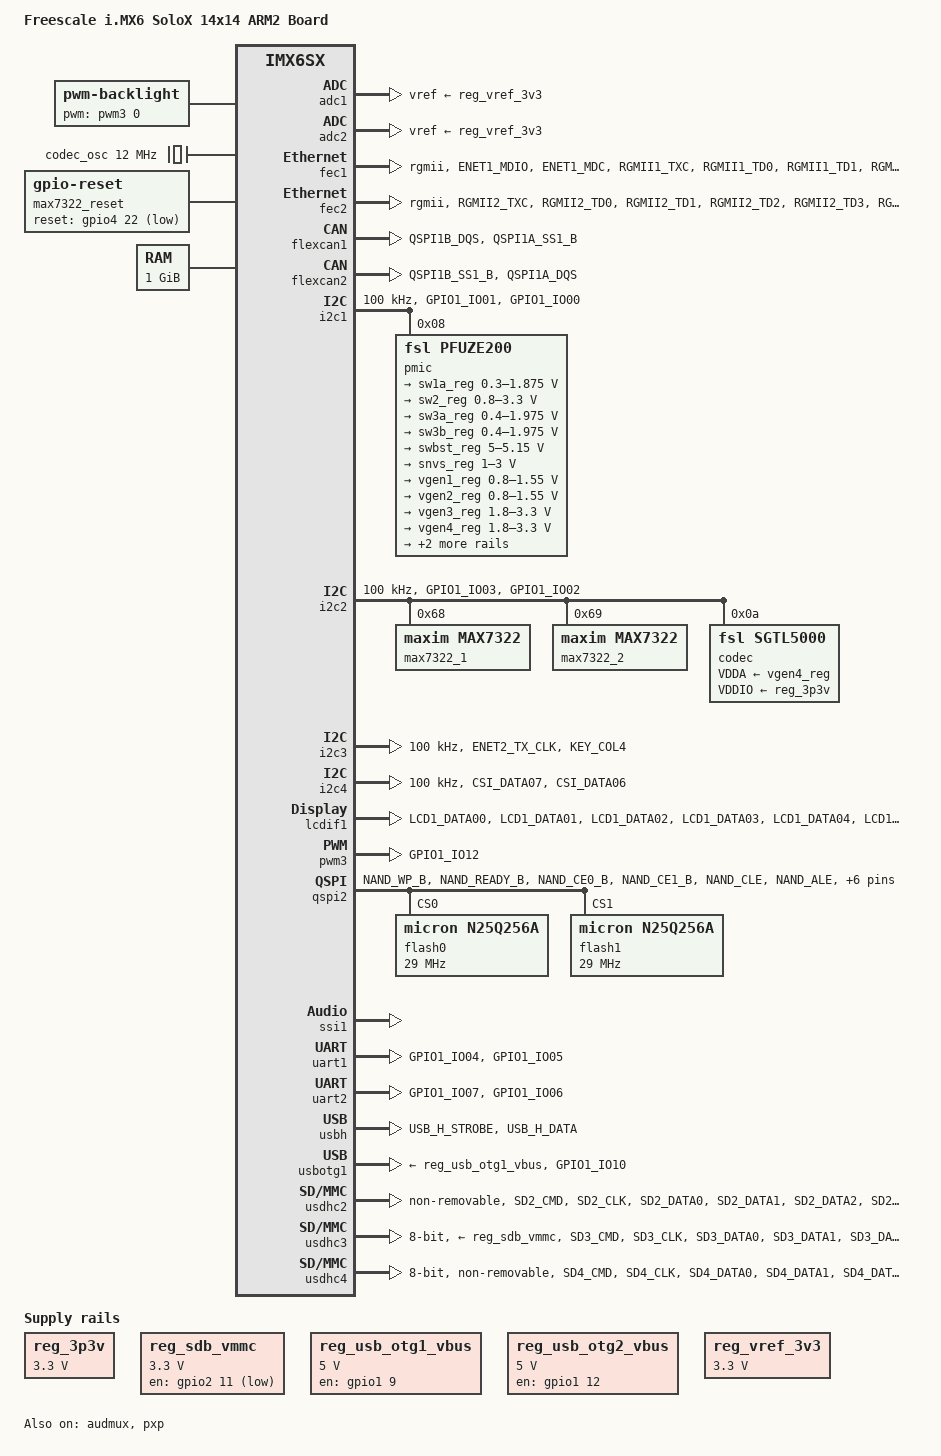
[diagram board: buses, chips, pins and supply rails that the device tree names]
/*
 * Copyright (C) 2015 Freescale Semiconductor, Inc.
 *
 * This program is free software; you can redistribute it and/or modify
 * it under the terms of the GNU General Public License version 2 as
 * published by the Free Software Foundation.
 */

/dts-v1/;

#include "imx6sx.dtsi"

/ {
	model = "Freescale i.MX6 SoloX 14x14 ARM2 Board";
	compatible = "fsl,imx6sx-14x14-lpddr2-arm2", "fsl,imx6sx";

	backlight {
		compatible = "pwm-backlight";
		pwms = <&pwm3 0 5000000>;
		brightness-levels = <0 4 8 16 32 64 128 255>;
		default-brightness-level = <6>;
	};

	clocks {
	        codec_osc: codec_osc {
		        #clock-cells = <0>;
		        compatible = "fixed-clock";
		        clock-frequency = <12000000>;
		};
	};

	max7322_reset: max7322-reset {
		compatible = "gpio-reset";
		reset-gpios = <&gpio4 22 GPIO_ACTIVE_LOW>;
		reset-delay-us = <1>;
		#reset-cells = <0>;
	};

	pxp_v4l2_out {
		compatible = "fsl,imx6sx-pxp-v4l2", "fsl,imx6sl-pxp-v4l2";
		status = "okay";
	};

	regulators {
		compatible = "simple-bus";

		reg_3p3v: 3p3v {
			compatible = "regulator-fixed";
			regulator-name = "3P3V";
			regulator-min-microvolt = <3300000>;
			regulator-max-microvolt = <3300000>;
			regulator-always-on;
		};

		reg_sdb_vmmc: sdb_vmmc{
			compatible = "regulator-fixed";
			regulator-name = "SD2_SPWR";
			regulator-min-microvolt = <3300000>;
			regulator-max-microvolt = <3300000>;
			gpio = <&gpio2 11 GPIO_ACTIVE_LOW>;
		};

		reg_usb_otg1_vbus: usb_otg1_vbus {
			compatible = "regulator-fixed";
			regulator-name = "usb_otg1_vbus";
			regulator-min-microvolt = <5000000>;
			regulator-max-microvolt = <5000000>;
			gpio = <&gpio1 9 0>;
			enable-active-high;
		};

		reg_usb_otg2_vbus: usb_otg2_vbus {
			compatible = "regulator-fixed";
			regulator-name = "usb_otg2_vbus";
			regulator-min-microvolt = <5000000>;
			regulator-max-microvolt = <5000000>;
			gpio = <&gpio1 12 0>;
			enable-active-high;
		};

		reg_vref_3v3: regulator@0 {
			compatible = "regulator-fixed";
			regulator-name = "vref-3v3";
			regulator-min-microvolt = <3300000>;
			regulator-max-microvolt = <3300000>;
		};
	};

	memory {
		reg = <0x80000000 0x40000000>;
	};

	sound {
		compatible = "fsl,imx6sx-arm2-sgtl5000",
			   "fsl,imx-audio-sgtl5000";
		model = "imx6sx-arm2-sgtl5000";
		cpu-dai = <&ssi1>;
		audio-codec = <&codec>;
		audio-routing =
			"LINE_IN", "Line In Jack",
			"Headphone Jack", "HP_OUT";
		mux-int-port = <1>;
		mux-ext-port = <4>;
	};
};

&adc1 {
	vref-supply = <&reg_vref_3v3>;
	status = "okay";
};

&adc2 {
	vref-supply = <&reg_vref_3v3>;
	status = "okay";
};

&audmux {
       pinctrl-names = "default";
       pinctrl-0 = <&pinctrl_audmux_2>;
       status = "okay";
};

&cpu0 {
	operating-points = <
		/* kHz    uV */
		996000  1250000
		792000  1175000
		396000  1175000
	>;
	fsl,soc-operating-points = <
		/* ARM kHz      SOC uV */
		996000  1250000
		792000  1175000
		396000  1175000
	>;
	arm-supply = <&sw1a_reg>;
	soc-supply = <&sw1a_reg>;
	fsl,arm-soc-shared = <1>;
};

&ecspi4 {
	fsl,spi-num-chipselects = <1>;
	cs-gpios = <&gpio7 4 0>;
	pinctrl-names = "default";
	pinctrl-0 = <&pinctrl_ecspi4_1 &pinctrl_ecspi4_cs_1>;
	status = "disabled"; /* pin conflict with USDHC3 */

	flash: m25p80@0 {
		#address-cells = <1>;
		#size-cells = <1>;
		compatible = "st,m25p32";
		spi-max-frequency = <20000000>;
		reg = <0>;
	};
};

&fec1 {
	pinctrl-names = "default";
	pinctrl-0 = <&pinctrl_enet1_1>;
	phy-mode = "rgmii";
	phy-id = <1>;
	fsl,num_tx_queues=<3>;
	fsl,num_rx_queues=<3>;
	pinctrl-assert-gpios = <&max7322_1 0 GPIO_ACTIVE_HIGH>;
	fsl,magic-packet;
	status = "okay";
};

&fec2 {
	pinctrl-names = "default";
	pinctrl-0 = <&pinctrl_enet2_1>;
	phy-mode = "rgmii";
	phy-id = <0>;
	fsl,num_tx_queues=<3>;
	fsl,num_rx_queues=<3>;
	pinctrl-assert-gpios = <&max7322_2 0 GPIO_ACTIVE_HIGH>;
	fsl,magic-packet;
	status = "okay";
};

&flexcan1 {
	pinctrl-names = "default";
	pinctrl-0 = <&pinctrl_flexcan1_1>;
	trx-en-gpio = <&gpio4 25 GPIO_ACTIVE_HIGH>;
	trx-stby-gpio = <&gpio4 27 GPIO_ACTIVE_HIGH>;
	trx-err-gpio = <&gpio4 24 GPIO_ACTIVE_HIGH>;
	status = "okay";
};

&flexcan2 {
	pinctrl-names = "default";
	pinctrl-0 = <&pinctrl_flexcan2_1>;
	trx-en-gpio = <&gpio4 25 GPIO_ACTIVE_HIGH>;
	trx-stby-gpio = <&gpio4 27 GPIO_ACTIVE_HIGH>;
	trx-err-gpio = <&gpio4 30 GPIO_ACTIVE_HIGH>;
	status = "okay";
};

&gpc {
	fsl,cpu_pupscr_sw2iso = <0x2>;
	fsl,cpu_pupscr_sw = <0x1>;
	fsl,cpu_pdnscr_iso2sw = <0x1>;
	fsl,cpu_pdnscr_iso = <0x1>;
	fsl,ldo-bypass = <1>; /* use ldo-bypass, u-boot will check it and configure */
};

&gpmi {
	pinctrl-names = "default";
	pinctrl-0 = <&pinctrl_gpmi_nand_1>;
	status = "disabled"; /* pin conflict with qspi*/
	nand-on-flash-bbt;
};

&i2c1 {
        clock-frequency = <100000>;
        pinctrl-names = "default";
        pinctrl-0 = <&pinctrl_i2c1_1>;
        status = "okay";

	pmic: pfuze100@08 {
		compatible = "fsl,pfuze200";
		reg = <0x08>;

		regulators {
			sw1a_reg: sw1ab {
				regulator-min-microvolt = <300000>;
				regulator-max-microvolt = <1875000>;
				regulator-boot-on;
				regulator-always-on;
				regulator-ramp-delay = <6250>;
			};

			sw2_reg: sw2 {
				regulator-min-microvolt = <800000>;
				regulator-max-microvolt = <3300000>;
				regulator-boot-on;
				regulator-always-on;
			};

			sw3a_reg: sw3a {
				regulator-min-microvolt = <400000>;
				regulator-max-microvolt = <1975000>;
				regulator-boot-on;
				regulator-always-on;
			};

			sw3b_reg: sw3b {
				regulator-min-microvolt = <400000>;
				regulator-max-microvolt = <1975000>;
				regulator-boot-on;
				regulator-always-on;
			};

			swbst_reg: swbst {
				regulator-min-microvolt = <5000000>;
				regulator-max-microvolt = <5150000>;
			};

			snvs_reg: vsnvs {
				regulator-min-microvolt = <1000000>;
				regulator-max-microvolt = <3000000>;
				regulator-boot-on;
				regulator-always-on;
			};

			vref_reg: vrefddr {
				regulator-boot-on;
				regulator-always-on;
			};

			vgen1_reg: vgen1 {
				regulator-min-microvolt = <800000>;
				regulator-max-microvolt = <1550000>;
			};

			vgen2_reg: vgen2 {
				regulator-min-microvolt = <800000>;
				regulator-max-microvolt = <1550000>;
			};

			vgen3_reg: vgen3 {
				regulator-min-microvolt = <1800000>;
				regulator-max-microvolt = <3300000>;
				regulator-always-on;
			};

			vgen4_reg: vgen4 {
				regulator-min-microvolt = <1800000>;
				regulator-max-microvolt = <3300000>;
				regulator-always-on;
			};

			vgen5_reg: vgen5 {
				regulator-min-microvolt = <1800000>;
				regulator-max-microvolt = <3300000>;
				regulator-always-on;
			};

			vgen6_reg: vgen6 {
				regulator-min-microvolt = <1800000>;
				regulator-max-microvolt = <3300000>;
				regulator-always-on;
			};
		};
	};
};

&i2c2 {
        clock-frequency = <100000>;
        pinctrl-names = "default";
        pinctrl-0 = <&pinctrl_i2c2_1>;
        status = "okay";

	max7322_1: gpio@68 {
		compatible = "maxim,max7322";
		reg = <0x68>;
		gpio-controller;
		#gpio-cells = <2>;
		resets = <&max7322_reset>;
	};

	max7322_2: gpio@69 {
		compatible = "maxim,max7322";
		reg = <0x69>;
		gpio-controller;
		#gpio-cells = <2>;
		resets = <&max7322_reset>;
	};

	codec: sgtl5000@0a {
		compatible = "fsl,sgtl5000";
		reg = <0x0a>;
		clocks = <&codec_osc>;
		VDDA-supply = <&vgen4_reg>;
		VDDIO-supply = <&reg_3p3v>;
	};
};


&i2c3 {
        clock-frequency = <100000>;
        pinctrl-names = "default";
        pinctrl-0 = <&pinctrl_i2c3_1>;
        status = "okay";
};

&i2c4 {
        clock-frequency = <100000>;
        pinctrl-names = "default";
        pinctrl-0 = <&pinctrl_i2c4_1>;
        status = "okay";
};

&iomuxc {
	pinctrl-names = "default";
	pinctrl-0 = <&pinctrl_hog_1>;

	hog {
		pinctrl_hog_1: hoggrp-1 {
			fsl,pins = <
				MX6SX_PAD_KEY_COL0__GPIO2_IO_10		0x1f059
				MX6SX_PAD_KEY_ROW0__GPIO2_IO_15		0x1f059
				MX6SX_PAD_QSPI1A_SS0_B__GPIO4_IO_22     0x80000000
				/* CAN1_2_EN */
				MX6SX_PAD_QSPI1B_DATA1__GPIO4_IO_25     0x17059
				/* CAN1_2_STBY_B */
				MX6SX_PAD_QSPI1B_DATA3__GPIO4_IO_27     0x17059
				/* CAN1_ERR_B */
				MX6SX_PAD_QSPI1B_DATA0__GPIO4_IO_24	0x17059
				/* CAN2_ERR_B */
				MX6SX_PAD_QSPI1B_SS0_B__GPIO4_IO_30     0x17059
				/* SD2_PWROFF */
				MX6SX_PAD_KEY_COL1__GPIO2_IO_11		0x17059
			>;
		};
	};
};

&lcdif1 {
	pinctrl-names = "default";
	pinctrl-0 = <&pinctrl_lcdif_dat_0
		     &pinctrl_lcdif_ctrl_0>;
	display = <&display>;
	status = "okay";

	display: display {
		bits-per-pixel = <16>;
		bus-width = <24>;

		display-timings {
			native-mode = <&timing0>;
			timing0: timing0 {
				clock-frequency = <33500000>;
				hactive = <800>;
				vactive = <480>;
				hback-porch = <89>;
				hfront-porch = <164>;
				vback-porch = <23>;
				vfront-porch = <10>;
				hsync-len = <10>;
				vsync-len = <10>;
				hsync-active = <0>;
				vsync-active = <0>;
				de-active = <1>;
				pixelclk-active = <0>;
			};
		};
	};
};

&mlb {
	pinctrl-names = "default";
	pinctrl-0 = <&pinctrl_mlb_1>;
	status = "disabled";/* pin conflict with usdhc2*/
};

&pwm3 {
	pinctrl-names = "default";
	pinctrl-0 = <&pinctrl_pwm3_0>;
	status = "okay";
};

&pxp {
	status = "okay";
};

&qspi2 {
	pinctrl-names = "default";
	pinctrl-0 = <&pinctrl_qspi2_1>;
	status = "okay";
	ddrsmp=<2>;

	flash0: n25q256a@0 {
		#address-cells = <1>;
		#size-cells = <1>;
		compatible = "micron,n25q256a";
		spi-max-frequency = <29000000>;
		reg = <0>;
	};

	flash1: n25q256a@1 {
		#address-cells = <1>;
		#size-cells = <1>;
		compatible = "micron,n25q256a";
		spi-max-frequency = <29000000>;
		reg = <1>;
	};
};

&sai2 {
	pinctrl-names = "default";
	pinctrl-0 = <&pinctrl_sai2_1>;
	status = "disabled";
};

&spdif {
	pinctrl-names = "default";
	pinctrl-0 = <&pinctrl_spdif_1>;
	status = "disabled";
};

&ssi1 {
	fsl,mode = "i2s-slave";
	status = "okay";
};

&uart1 {
	pinctrl-names = "default";
	pinctrl-0 = <&pinctrl_uart1_1>;
	status = "okay";
};

&uart2 {
	pinctrl-names = "default";
	pinctrl-0 = <&pinctrl_uart2_1>;
	status = "okay";
};

&usbh {
	pinctrl-names = "idle", "active";
	pinctrl-0 = <&pinctrl_usbh_1>;
	pinctrl-1 = <&pinctrl_usbh_2>;
	osc-clkgate-delay = <0x3>;
	pad-supply = <&vgen1_reg>;
	status = "okay";
};

&usbotg1 {
	vbus-supply = <&reg_usb_otg1_vbus>;
	pinctrl-names = "default";
	pinctrl-0 = <&pinctrl_usbotg1_1>;
	disable-over-current;
	status = "okay";
};

&usbotg2 {
	/*
	 * Pin conflict with others, need to switch R580 & R579
	 * to B and disable pwm3 to enable it.
	 */
	vbus-supply = <&reg_usb_otg2_vbus>;
	disable-over-current;
	pinctrl-names = "default";
	pinctrl-0 = <&pinctrl_usbotg2_1>;
	status = "disabled";
};

&usdhc2 {
	pinctrl-names = "default";
	pinctrl-0 = <&pinctrl_usdhc2_1>;
	non-removable;
	/* need hw rework to enable signal voltage switch */
	no-1-8-v;
	keep-power-in-suspend;
	enable-sdio-wakeup;
	status = "okay";
};

&usdhc3 {
	pinctrl-names = "default", "state_100mhz", "state_200mhz";
	pinctrl-0 = <&pinctrl_usdhc3_1>;
	pinctrl-1 = <&pinctrl_usdhc3_1_100mhz>;
	pinctrl-2 = <&pinctrl_usdhc3_1_200mhz>;
	bus-width = <8>;
	cd-gpios = <&gpio2 10 0>;
	wp-gpios = <&gpio2 15 0>;
	keep-power-in-suspend;
	enable-sdio-wakeup;
	vmmc-supply = <&reg_sdb_vmmc>;
	status = "okay";
};

&usdhc4 {
	pinctrl-names = "default";
	pinctrl-0 = <&pinctrl_usdhc4_1>;
	bus-width = <8>;
	non-removable;
	/* need hw rework to enable signal voltage switch */
	no-1-8-v;
	status = "okay";
};

&wdog1 {
	pinctrl-names = "default";
	pinctrl-0 = <&pinctrl_wdog>;
	fsl,wdog_b;
};

&iomuxc {
	audmux {
		pinctrl_audmux_1: audmuxgrp-1 {
			fsl,pins = <
				MX6SX_PAD_CSI_DATA00__AUDMUX_AUD6_TXC   0x130B0
				MX6SX_PAD_CSI_DATA01__AUDMUX_AUD6_TXFS  0x130B0
				MX6SX_PAD_CSI_HSYNC__AUDMUX_AUD6_TXD    0x120B0
				MX6SX_PAD_CSI_VSYNC__AUDMUX_AUD6_RXD    0x130B0
				MX6SX_PAD_CSI_PIXCLK__AUDMUX_MCLK       0x130B0
			>;
		};

		pinctrl_audmux_2: audmuxgrp-2 {
			fsl,pins = <
				MX6SX_PAD_ENET1_COL__AUDMUX_AUD4_TXC 	 0x130b0
				MX6SX_PAD_ENET1_CRS__AUDMUX_AUD4_TXD     0x130b0
				MX6SX_PAD_ENET1_RX_CLK__AUDMUX_AUD4_TXFS 0x130b0
				MX6SX_PAD_ENET1_TX_CLK__AUDMUX_AUD4_RXD  0x130b0
			>;
		};

		pinctrl_audmux_3: audmux-3 {
			fsl,pins = <
				MX6SX_PAD_SD1_CMD__AUDMUX_AUD5_RXC    0x130b0
				MX6SX_PAD_SD1_CLK__AUDMUX_AUD5_RXFS   0x130b0
				MX6SX_PAD_SD1_DATA3__AUDMUX_AUD5_RXD  0x130b0
			>;
		};
	};

	ecspi4 {
		pinctrl_ecspi4_cs_1: ecspi4_cs_grp-1 {
			fsl,pins = <
				MX6SX_PAD_SD3_DATA2__GPIO7_IO_4  0x80000000
			>;
		};

		pinctrl_ecspi4_1: ecspi4grp-1 {
			fsl,pins = <
				MX6SX_PAD_SD3_DATA3__ECSPI4_MISO 0x100b1
				MX6SX_PAD_SD3_CMD__ECSPI4_MOSI   0x100b1
				MX6SX_PAD_SD3_CLK__ECSPI4_SCLK   0x100b1
			>;
		};
	};

	csi {
		pinctrl_csi_0: csigrp-0 {
			fsl,pins = <
				MX6SX_PAD_LCD1_DATA07__CSI1_MCLK	0x110b0
				MX6SX_PAD_LCD1_DATA06__CSI1_PIXCLK	0x110b0
				MX6SX_PAD_LCD1_DATA04__CSI1_VSYNC	0x110b0
				MX6SX_PAD_LCD1_DATA05__CSI1_HSYNC	0x110b0
				MX6SX_PAD_LCD1_DATA17__CSI1_DATA_0	0x110b0
				MX6SX_PAD_LCD1_DATA16__CSI1_DATA_1	0x110b0
				MX6SX_PAD_LCD1_DATA15__CSI1_DATA_2	0x110b0
				MX6SX_PAD_LCD1_DATA14__CSI1_DATA_3	0x110b0
				MX6SX_PAD_LCD1_DATA13__CSI1_DATA_4	0x110b0
				MX6SX_PAD_LCD1_DATA12__CSI1_DATA_5	0x110b0
				MX6SX_PAD_LCD1_DATA11__CSI1_DATA_6	0x110b0
				MX6SX_PAD_LCD1_DATA10__CSI1_DATA_7	0x110b0
				MX6SX_PAD_LCD1_DATA09__CSI1_DATA_8	0x110b0
				MX6SX_PAD_LCD1_DATA08__CSI1_DATA_9	0x110b0
				MX6SX_PAD_LCD1_RESET__GPIO3_IO_27	0x80000000
				MX6SX_PAD_LCD1_VSYNC__GPIO3_IO_28	0x80000000
			>;
		};

		pinctrl_csi_1: csigrp-1 {
			fsl,pins = <
				MX6SX_PAD_CSI_MCLK__CSI1_MCLK		0x110b0
				MX6SX_PAD_CSI_PIXCLK__CSI1_PIXCLK	0x110b0
				MX6SX_PAD_CSI_VSYNC__CSI1_VSYNC		0x110b0
				MX6SX_PAD_CSI_HSYNC__CSI1_HSYNC		0x110b0
				MX6SX_PAD_CSI_DATA00__CSI1_DATA_2	0x110b0
				MX6SX_PAD_CSI_DATA01__CSI1_DATA_3	0x110b0
				MX6SX_PAD_CSI_DATA02__CSI1_DATA_4	0x110b0
				MX6SX_PAD_CSI_DATA03__CSI1_DATA_5	0x110b0
				MX6SX_PAD_CSI_DATA04__CSI1_DATA_6	0x110b0
				MX6SX_PAD_CSI_DATA05__CSI1_DATA_7	0x110b0
				MX6SX_PAD_CSI_DATA06__CSI1_DATA_8	0x110b0
				MX6SX_PAD_CSI_DATA07__CSI1_DATA_9	0x110b0

				MX6SX_PAD_LCD1_ENABLE__GPIO3_IO_25	0x80000000
				MX6SX_PAD_LCD1_HSYNC__GPIO3_IO_26	0x80000000
			>;
		};
	};

	enet1 {
		pinctrl_enet1_1: enet1grp-1 {
			fsl,pins = <
				MX6SX_PAD_ENET1_MDIO__ENET1_MDIO        0xa0b1
				MX6SX_PAD_ENET1_MDC__ENET1_MDC          0xa0b1
				MX6SX_PAD_RGMII1_TXC__ENET1_RGMII_TXC   0xa0b9
				MX6SX_PAD_RGMII1_TD0__ENET1_TX_DATA_0   0xa0b1
				MX6SX_PAD_RGMII1_TD1__ENET1_TX_DATA_1   0xa0b1
				MX6SX_PAD_RGMII1_TD2__ENET1_TX_DATA_2   0xa0b1
				MX6SX_PAD_RGMII1_TD3__ENET1_TX_DATA_3   0xa0b1
				MX6SX_PAD_RGMII1_TX_CTL__ENET1_TX_EN    0xa0b1
				MX6SX_PAD_RGMII1_RXC__ENET1_RX_CLK      0x3081
				MX6SX_PAD_RGMII1_RD0__ENET1_RX_DATA_0   0x3081
				MX6SX_PAD_RGMII1_RD1__ENET1_RX_DATA_1   0x3081
				MX6SX_PAD_RGMII1_RD2__ENET1_RX_DATA_2   0x3081
				MX6SX_PAD_RGMII1_RD3__ENET1_RX_DATA_3   0x3081
				MX6SX_PAD_RGMII1_RX_CTL__ENET1_RX_EN    0x3081
			>;
		};

		pinctrl_enet1_clkout_1: enet1_clkoutgrp-1 {
			fsl,pins = <
				MX6SX_PAD_ENET2_RX_CLK__ENET2_REF_CLK_25M	0x91
			>;
		};
	};

	enet2 {
		pinctrl_enet2_1: enet2grp-1 {
			fsl,pins = <
				MX6SX_PAD_RGMII2_TXC__ENET2_RGMII_TXC   0xa0b9
				MX6SX_PAD_RGMII2_TD0__ENET2_TX_DATA_0   0xa0b1
				MX6SX_PAD_RGMII2_TD1__ENET2_TX_DATA_1   0xa0b1
				MX6SX_PAD_RGMII2_TD2__ENET2_TX_DATA_2   0xa0b1
				MX6SX_PAD_RGMII2_TD3__ENET2_TX_DATA_3   0xa0b1
				MX6SX_PAD_RGMII2_TX_CTL__ENET2_TX_EN    0xa0b1
				MX6SX_PAD_RGMII2_RXC__ENET2_RX_CLK      0x3081
				MX6SX_PAD_RGMII2_RD0__ENET2_RX_DATA_0   0x3081
				MX6SX_PAD_RGMII2_RD1__ENET2_RX_DATA_1   0x3081
				MX6SX_PAD_RGMII2_RD2__ENET2_RX_DATA_2   0x3081
				MX6SX_PAD_RGMII2_RD3__ENET2_RX_DATA_3   0x3081
				MX6SX_PAD_RGMII2_RX_CTL__ENET2_RX_EN    0x3081
			>;
		};
	};

	esai {
		pinctrl_esai_1: esaigrp-1 {
			fsl,pins = <
				MX6SX_PAD_CSI_MCLK__ESAI_TX_HF_CLK  0x1b030
				MX6SX_PAD_CSI_DATA00__ESAI_TX_CLK   0x1b030
				MX6SX_PAD_CSI_DATA01__ESAI_TX_FS    0x1b030
				MX6SX_PAD_CSI_HSYNC__ESAI_TX0       0x1b030
				MX6SX_PAD_CSI_DATA04__ESAI_TX1      0x1b030
				MX6SX_PAD_CSI_DATA06__ESAI_TX2_RX3  0x1b030
				MX6SX_PAD_CSI_DATA07__ESAI_TX3_RX2  0x1b030
				MX6SX_PAD_CSI_DATA02__ESAI_RX_CLK   0x1b030
				MX6SX_PAD_CSI_DATA03__ESAI_RX_FS    0x1b030
				MX6SX_PAD_CSI_VSYNC__ESAI_TX5_RX0   0x1b030
				MX6SX_PAD_CSI_DATA05__ESAI_TX4_RX1  0x1b030
			>;
		};

		pinctrl_esai_2: esaigrp-2 {
			fsl,pins = <
				MX6SX_PAD_CSI_DATA00__ESAI_TX_CLK   0x1b030
				MX6SX_PAD_CSI_DATA01__ESAI_TX_FS    0x1b030
				MX6SX_PAD_CSI_HSYNC__ESAI_TX0       0x1b030
				MX6SX_PAD_CSI_DATA04__ESAI_TX1      0x1b030
				MX6SX_PAD_CSI_DATA06__ESAI_TX2_RX3  0x1b030
				MX6SX_PAD_CSI_DATA07__ESAI_TX3_RX2  0x1b030
				MX6SX_PAD_CSI_DATA02__ESAI_RX_CLK   0x1b030
				MX6SX_PAD_CSI_DATA03__ESAI_RX_FS    0x1b030
				MX6SX_PAD_CSI_VSYNC__ESAI_TX5_RX0   0x1b030
				MX6SX_PAD_CSI_DATA05__ESAI_TX4_RX1  0x1b030
			>;
		};
	};

	flexcan1 {
		pinctrl_flexcan1_1: flexcan1grp-1 {
			fsl,pins = <
				MX6SX_PAD_QSPI1B_DQS__CAN1_TX	0x1b020
				MX6SX_PAD_QSPI1A_SS1_B__CAN1_RX	0x1b020
			>;
		};
	};

	flexcan2 {
		pinctrl_flexcan2_1: flexcan2grp-1 {
			fsl,pins = <
				MX6SX_PAD_QSPI1B_SS1_B__CAN2_RX 0x1b020
				MX6SX_PAD_QSPI1A_DQS__CAN2_TX	0x1b020
			>;
		};
	};

	gpmi-nand {
		pinctrl_gpmi_nand_1: gpmi-nand-1 {
			fsl,pins = <
				MX6SX_PAD_NAND_CLE__RAWNAND_CLE         0xb0b1
				MX6SX_PAD_NAND_ALE__RAWNAND_ALE         0xb0b1
				MX6SX_PAD_NAND_WP_B__RAWNAND_WP_B       0xb0b1
				MX6SX_PAD_NAND_READY_B__RAWNAND_READY_B 0xb000
				MX6SX_PAD_NAND_CE0_B__RAWNAND_CE0_B     0xb0b1
				MX6SX_PAD_NAND_CE1_B__RAWNAND_CE1_B     0xb0b1
				MX6SX_PAD_NAND_RE_B__RAWNAND_RE_B       0xb0b1
				MX6SX_PAD_NAND_WE_B__RAWNAND_WE_B       0xb0b1
				MX6SX_PAD_NAND_DATA00__RAWNAND_DATA00   0xb0b1
				MX6SX_PAD_NAND_DATA01__RAWNAND_DATA01   0xb0b1
				MX6SX_PAD_NAND_DATA02__RAWNAND_DATA02   0xb0b1
				MX6SX_PAD_NAND_DATA03__RAWNAND_DATA03   0xb0b1
				MX6SX_PAD_NAND_DATA04__RAWNAND_DATA04   0xb0b1
				MX6SX_PAD_NAND_DATA05__RAWNAND_DATA05   0xb0b1
				MX6SX_PAD_NAND_DATA06__RAWNAND_DATA06   0xb0b1
				MX6SX_PAD_NAND_DATA07__RAWNAND_DATA07   0xb0b1
			>;
		};
	};

	i2c1 {
		pinctrl_i2c1_1: i2c1grp-1 {
			fsl,pins = <
				MX6SX_PAD_GPIO1_IO01__I2C1_SDA          0x4001b8b1
				MX6SX_PAD_GPIO1_IO00__I2C1_SCL          0x4001b8b1
			>;
		};

		pinctrl_i2c1_2: i2c1grp-2 {
			fsl,pins = <
				MX6SX_PAD_CSI_DATA01__I2C1_SDA          0x4001b8b1
				MX6SX_PAD_CSI_DATA00__I2C1_SCL          0x4001b8b1
			>;
		};
	};

	i2c2 {
		pinctrl_i2c2_1: i2c2grp-1 {
			fsl,pins = <
				MX6SX_PAD_GPIO1_IO03__I2C2_SDA          0x4001b8b1
				MX6SX_PAD_GPIO1_IO02__I2C2_SCL          0x4001b8b1
			>;
		};
	};

	i2c3 {
		pinctrl_i2c3_1: i2c3grp-1 {
			fsl,pins = <
				MX6SX_PAD_ENET2_TX_CLK__I2C3_SDA        0x4001b8b1
				MX6SX_PAD_KEY_COL4__I2C3_SCL            0x4001b8b1
			>;
		};

		pinctrl_i2c3_2: i2c3grp-2 {
			fsl,pins = <
				MX6SX_PAD_KEY_ROW4__I2C3_SDA            0x4001b8b1
				MX6SX_PAD_KEY_COL4__I2C3_SCL            0x4001b8b1
			>;
		};
	};

	i2c4 {
		pinctrl_i2c4_1: i2c4grp-1 {
			fsl,pins = <
				MX6SX_PAD_CSI_DATA07__I2C4_SDA          0x4001b8b1
				MX6SX_PAD_CSI_DATA06__I2C4_SCL          0x4001b8b1
			>;
		};
		pinctrl_i2c4_2: i2c4grp-2 {
			fsl,pins = <
				MX6SX_PAD_SD3_DATA1__I2C4_SDA           0x4001b8b1
				MX6SX_PAD_SD3_DATA0__I2C4_SCL           0x4001b8b1
			>;
		};
	};

	lcdif1 {
		pinctrl_lcdif_dat_0: lcdifdatgrp-0 {
			fsl,pins = <
				MX6SX_PAD_LCD1_DATA00__LCDIF1_DATA_0 0x4001b0b0
				MX6SX_PAD_LCD1_DATA01__LCDIF1_DATA_1 0x4001b0b0
				MX6SX_PAD_LCD1_DATA02__LCDIF1_DATA_2 0x4001b0b0
				MX6SX_PAD_LCD1_DATA03__LCDIF1_DATA_3 0x4001b0b0
				MX6SX_PAD_LCD1_DATA04__LCDIF1_DATA_4 0x4001b0b0
				MX6SX_PAD_LCD1_DATA05__LCDIF1_DATA_5 0x4001b0b0
				MX6SX_PAD_LCD1_DATA06__LCDIF1_DATA_6 0x4001b0b0
				MX6SX_PAD_LCD1_DATA07__LCDIF1_DATA_7 0x4001b0b0
				MX6SX_PAD_LCD1_DATA08__LCDIF1_DATA_8 0x4001b0b0
				MX6SX_PAD_LCD1_DATA09__LCDIF1_DATA_9 0x4001b0b0
				MX6SX_PAD_LCD1_DATA10__LCDIF1_DATA_10 0x4001b0b0
				MX6SX_PAD_LCD1_DATA11__LCDIF1_DATA_11 0x4001b0b0
				MX6SX_PAD_LCD1_DATA12__LCDIF1_DATA_12 0x4001b0b0
				MX6SX_PAD_LCD1_DATA13__LCDIF1_DATA_13 0x4001b0b0
				MX6SX_PAD_LCD1_DATA14__LCDIF1_DATA_14 0x4001b0b0
				MX6SX_PAD_LCD1_DATA15__LCDIF1_DATA_15 0x4001b0b0
				MX6SX_PAD_LCD1_DATA16__LCDIF1_DATA_16 0x4001b0b0
				MX6SX_PAD_LCD1_DATA17__LCDIF1_DATA_17 0x4001b0b0
				MX6SX_PAD_LCD1_DATA18__LCDIF1_DATA_18 0x4001b0b0
				MX6SX_PAD_LCD1_DATA19__LCDIF1_DATA_19 0x4001b0b0
				MX6SX_PAD_LCD1_DATA20__LCDIF1_DATA_20 0x4001b0b0
				MX6SX_PAD_LCD1_DATA21__LCDIF1_DATA_21 0x4001b0b0
				MX6SX_PAD_LCD1_DATA22__LCDIF1_DATA_22 0x4001b0b0
				MX6SX_PAD_LCD1_DATA23__LCDIF1_DATA_23 0x4001b0b0
			>;
		};

		pinctrl_lcdif_ctrl_0: lcdifctrlgrp-0 {
			fsl,pins = <
				MX6SX_PAD_LCD1_CLK__LCDIF1_CLK	0x4001b0b0
				MX6SX_PAD_LCD1_ENABLE__LCDIF1_ENABLE 0x4001b0b0
				MX6SX_PAD_LCD1_VSYNC__LCDIF1_VSYNC 0x4001b0b0
				MX6SX_PAD_LCD1_HSYNC__LCDIF1_HSYNC 0x4001b0b0
				MX6SX_PAD_LCD1_RESET__GPIO3_IO_27 0x1b0b0
			>;
		};
	};

	mlb {
		pinctrl_mlb_1: mlbgrp-1 {
			fsl,pins = <
				MX6SX_PAD_SD2_DATA3__MLB_DATA	0x31
				MX6SX_PAD_SD2_CLK__MLB_SIG	0x31
				MX6SX_PAD_SD2_CMD__MLB_CLK	0x31
			>;
		};

		pinctrl_mlb_2: mlbgrp-2 {
			fsl,pins = <
				MX6SX_PAD_ENET2_RX_CLK__MLB_DATA	0x31
				MX6SX_PAD_ENET2_CRS__MLB_SIG		0x31
				MX6SX_PAD_ENET2_TX_CLK__MLB_CLK		0x31
			>;
		};
	};

	mqs {
		pinctrl_mqs_1: mqsgrp-1 {
			fsl,pins = <
				MX6SX_PAD_SD2_CLK__MQS_RIGHT 0x80000000
				MX6SX_PAD_SD2_CMD__MQS_LEFT 0x80000000
			>;
		};
	};

	pwm3 {
		pinctrl_pwm3_0: pwm3grp-0 {
			fsl,pins = <
				MX6SX_PAD_GPIO1_IO12__PWM3_OUT 0x110b0
			>;
		};

		pinctrl_pwm3_1: pwm3grp-1 {
			fsl,pins = <
				MX6SX_PAD_SD1_DATA2__PWM3_OUT 0x110b0
			>;
		};
	};

	pwm4 {
		pinctrl_pwm4_0: pwm4grp-0 {
			fsl,pins = <
				MX6SX_PAD_SD1_DATA1__PWM4_OUT 0x110b0
			>;
		};
	};

	qspi1 {
		pinctrl_qspi1_1: qspi1grp_1 {
			fsl,pins = <
				MX6SX_PAD_QSPI1A_DATA0__QSPI1_A_DATA_0  0x70a1
				MX6SX_PAD_QSPI1A_DATA1__QSPI1_A_DATA_1  0x70a1
				MX6SX_PAD_QSPI1A_DATA2__QSPI1_A_DATA_2  0x70a1
				MX6SX_PAD_QSPI1A_DATA3__QSPI1_A_DATA_3  0x70a1
				MX6SX_PAD_QSPI1A_SCLK__QSPI1_A_SCLK     0x70a1
				MX6SX_PAD_QSPI1A_SS0_B__QSPI1_A_SS0_B   0x70a1
				MX6SX_PAD_QSPI1B_DATA0__QSPI1_B_DATA_0  0x70a1
				MX6SX_PAD_QSPI1B_DATA1__QSPI1_B_DATA_1  0x70a1
				MX6SX_PAD_QSPI1B_DATA2__QSPI1_B_DATA_2  0x70a1
				MX6SX_PAD_QSPI1B_DATA3__QSPI1_B_DATA_3  0x70a1
				MX6SX_PAD_QSPI1B_SCLK__QSPI1_B_SCLK     0x70a1
				MX6SX_PAD_QSPI1B_SS0_B__QSPI1_B_SS0_B   0x70a1
			>;
		};
	};

	qspi2 {
		pinctrl_qspi2_1: qspi2grp_1 {
			fsl,pins = <
				MX6SX_PAD_NAND_WP_B__QSPI2_A_DATA_0     0x70a1
				MX6SX_PAD_NAND_READY_B__QSPI2_A_DATA_1  0x70a1
				MX6SX_PAD_NAND_CE0_B__QSPI2_A_DATA_2    0x70a1
				MX6SX_PAD_NAND_CE1_B__QSPI2_A_DATA_3    0x70a1
				MX6SX_PAD_NAND_CLE__QSPI2_A_SCLK        0x70a1
				MX6SX_PAD_NAND_ALE__QSPI2_A_SS0_B       0x70a1
				MX6SX_PAD_NAND_DATA01__QSPI2_B_DATA_0   0x70a1
				MX6SX_PAD_NAND_DATA00__QSPI2_B_DATA_1   0x70a1
				MX6SX_PAD_NAND_WE_B__QSPI2_B_DATA_2     0x70a1
				MX6SX_PAD_NAND_RE_B__QSPI2_B_DATA_3     0x70a1
				MX6SX_PAD_NAND_DATA02__QSPI2_B_SCLK     0x70a1
				MX6SX_PAD_NAND_DATA03__QSPI2_B_SS0_B    0x70a1
			>;
		};
	};

	sai1 {
		pinctrl_sai1_1: sai1grp_1 {
			fsl,pins = <
				MX6SX_PAD_CSI_DATA00__SAI1_TX_BCLK     0x1b030
				MX6SX_PAD_CSI_DATA01__SAI1_TX_SYNC     0x1b030
				MX6SX_PAD_CSI_DATA02__SAI1_RX_BCLK     0x1b030
				MX6SX_PAD_CSI_DATA03__SAI1_RX_SYNC     0x1b030
				MX6SX_PAD_CSI_HSYNC__SAI1_TX_DATA_0    0x1b030
				MX6SX_PAD_CSI_VSYNC__SAI1_RX_DATA_0    0x1b030
			>;
		};

		pinctrl_sai1_2: sai1grp_2 {
			fsl,pins = <
				MX6SX_PAD_CSI_DATA00__SAI1_TX_BCLK     0x130B0
				MX6SX_PAD_CSI_DATA01__SAI1_TX_SYNC     0x130B0
				MX6SX_PAD_CSI_HSYNC__SAI1_TX_DATA_0    0x120B0
				MX6SX_PAD_CSI_VSYNC__SAI1_RX_DATA_0    0x130B0
				MX6SX_PAD_CSI_PIXCLK__AUDMUX_MCLK      0x130B0
			>;
		};
	};

	sai2 {
		pinctrl_sai2_1: sai2grp_1 {
			fsl,pins = <
				MX6SX_PAD_KEY_COL0__SAI2_TX_BCLK       0x1b030
				MX6SX_PAD_KEY_COL1__SAI2_TX_SYNC       0x1b030
				MX6SX_PAD_KEY_ROW0__SAI2_TX_DATA_0     0x1b030
				MX6SX_PAD_KEY_ROW1__SAI2_RX_DATA_0     0x1b030
			>;
		};
	};


	spdif {
		pinctrl_spdif_1: spdifgrp-1 {
			fsl,pins = <
				MX6SX_PAD_ENET1_RX_CLK__SPDIF_OUT	0x1b0b0
				MX6SX_PAD_ENET2_COL__SPDIF_IN		0x1b0b0
			>;
		};

		pinctrl_spdif_2: spdifgrp-2 {
			fsl,pins = <
				MX6SX_PAD_SD4_DATA4__SPDIF_OUT		0x1b0b0
			>;
		};

		pinctrl_spdif_3: spdifgrp-3 {
			fsl,pins = <
				MX6SX_PAD_ENET2_COL__SPDIF_IN		0x1b0b0
			>;
		};
	};

	uart1 {
		pinctrl_uart1_1: uart1grp-1 {
			fsl,pins = <
				MX6SX_PAD_GPIO1_IO04__UART1_TX 0x1b0b1
				MX6SX_PAD_GPIO1_IO05__UART1_RX 0x1b0b1
			>;
		};

		pinctrl_uart1_2: uart1grp-2 {
			fsl,pins = <
				MX6SX_PAD_ENET2_COL__UART1_RX 0x1b0b1
				MX6SX_PAD_ENET2_CRS__UART1_TX 0x1b0b1
			>;
		};
	};

	uart2 {
		pinctrl_uart2_1: uart2grp-1 {
			fsl,pins = <
				MX6SX_PAD_GPIO1_IO07__UART2_RX 0x1b0b1
				MX6SX_PAD_GPIO1_IO06__UART2_TX 0x1b0b1
			>;
		};

		pinctrl_uart2_2: uart2grp-2 {
			fsl,pins = <
				MX6SX_PAD_SD1_DATA0__UART2_RX 0x1b0b1
				MX6SX_PAD_SD1_DATA1__UART2_TX 0x1b0b1
			>;
		};
	};

	uart5 {
		pinctrl_uart5_1: uart5grp-1 {
			fsl,pins = <
				MX6SX_PAD_KEY_ROW3__UART5_RX    0x1b0b1
				MX6SX_PAD_KEY_COL3__UART5_TX    0x1b0b1
				MX6SX_PAD_KEY_ROW2__UART5_CTS_B 0x1b0b1
				MX6SX_PAD_KEY_COL2__UART5_RTS_B 0x1b0b1
			>;
		};

		pinctrl_uart5dte_1: uart5dtegrp-1 {
			fsl,pins = <
				MX6SX_PAD_KEY_ROW3__UART5_TX	0x1b0b1
				MX6SX_PAD_KEY_COL3__UART5_RX    0x1b0b1
				MX6SX_PAD_KEY_ROW2__UART5_RTS_B	0x1b0b1
				MX6SX_PAD_KEY_COL2__UART5_CTS_B	0x1b0b1
			>;
		};
	};

	usbh {
		pinctrl_usbh_1: usbhgrp-1 {
			fsl,pins = <
				MX6SX_PAD_USB_H_STROBE__USB_H_STROBE	0x40013030
				MX6SX_PAD_USB_H_DATA__USB_H_DATA 0x40013030
			>;
		};

		pinctrl_usbh_2: usbhgrp-2 {
			fsl,pins = <
				MX6SX_PAD_USB_H_STROBE__USB_H_STROBE	0x40017030
			>;
		};
	};

	usbotg1 {
		pinctrl_usbotg1_1: usbotg1grp-1 {
			fsl,pins = <
				MX6SX_PAD_GPIO1_IO10__ANATOP_OTG1_ID 0x17059
			>;
		};

		pinctrl_usbotg1_2: usbotg1grp-2 {
			fsl,pins = <
				MX6SX_PAD_ENET2_COL__ANATOP_OTG1_ID 0x17059
			>;
		};

		pinctrl_usbotg1_3: usbotg1grp-3 {
			fsl,pins = <
				MX6SX_PAD_QSPI1A_DATA1__ANATOP_OTG1_ID 0x17059
			>;
		};
	};

	usbotg2 {
		pinctrl_usbotg2_1: usbotg2grp-1 {
			fsl,pins = <
				MX6SX_PAD_GPIO1_IO13__ANATOP_OTG2_ID 0x17059
			>;
		};

		pinctrl_usbotg2_2: usbotg2grp-2 {
			fsl,pins = <
				MX6SX_PAD_ENET2_CRS__ANATOP_OTG2_ID 0x17059
			>;
		};

		pinctrl_usbotg2_3: usbotg2grp-3 {
			fsl,pins = <
				MX6SX_PAD_QSPI1A_SCLK__ANATOP_OTG2_ID 0x17059
			>;
		};
	};

	usdhc1 {
		pinctrl_usdhc1_1: usdhc1grp-1 {
			fsl,pins = <
				MX6SX_PAD_SD1_CMD__USDHC1_CMD     0x17059
				MX6SX_PAD_SD1_CLK__USDHC1_CLK     0x10059
				MX6SX_PAD_SD1_DATA0__USDHC1_DATA0 0x17059
				MX6SX_PAD_SD1_DATA1__USDHC1_DATA1 0x17059
				MX6SX_PAD_SD1_DATA2__USDHC1_DATA2 0x17059
				MX6SX_PAD_SD1_DATA3__USDHC1_DATA3 0x17059
			>;
		};
	};

	usdhc2 {
		pinctrl_usdhc2_1: usdhc2grp-1 {
			fsl,pins = <
				MX6SX_PAD_SD2_CMD__USDHC2_CMD     0x17059
				MX6SX_PAD_SD2_CLK__USDHC2_CLK     0x10059
				MX6SX_PAD_SD2_DATA0__USDHC2_DATA0 0x17059
				MX6SX_PAD_SD2_DATA1__USDHC2_DATA1 0x17059
				MX6SX_PAD_SD2_DATA2__USDHC2_DATA2 0x17059
				MX6SX_PAD_SD2_DATA3__USDHC2_DATA3 0x17059
			>;
		};
	};

	usdhc3 {
		pinctrl_usdhc3_1: usdhc3grp-1 {
			fsl,pins = <
				MX6SX_PAD_SD3_CMD__USDHC3_CMD	  0x17059
				MX6SX_PAD_SD3_CLK__USDHC3_CLK	  0x10059
				MX6SX_PAD_SD3_DATA0__USDHC3_DATA0 0x17059
				MX6SX_PAD_SD3_DATA1__USDHC3_DATA1 0x17059
				MX6SX_PAD_SD3_DATA2__USDHC3_DATA2 0x17059
				MX6SX_PAD_SD3_DATA3__USDHC3_DATA3 0x17059
				MX6SX_PAD_SD3_DATA4__USDHC3_DATA4 0x17059
				MX6SX_PAD_SD3_DATA5__USDHC3_DATA5 0x17059
				MX6SX_PAD_SD3_DATA6__USDHC3_DATA6 0x17059
				MX6SX_PAD_SD3_DATA7__USDHC3_DATA7 0x17059
			>;
		};

		pinctrl_usdhc3_1_100mhz: usdhc3grp-1-100mhz {
			fsl,pins = <
				MX6SX_PAD_SD3_CMD__USDHC3_CMD	  0x170b9
				MX6SX_PAD_SD3_CLK__USDHC3_CLK	  0x100b9
				MX6SX_PAD_SD3_DATA0__USDHC3_DATA0 0x170b9
				MX6SX_PAD_SD3_DATA1__USDHC3_DATA1 0x170b9
				MX6SX_PAD_SD3_DATA2__USDHC3_DATA2 0x170b9
				MX6SX_PAD_SD3_DATA3__USDHC3_DATA3 0x170b9
				MX6SX_PAD_SD3_DATA4__USDHC3_DATA4 0x170b9
				MX6SX_PAD_SD3_DATA5__USDHC3_DATA5 0x170b9
				MX6SX_PAD_SD3_DATA6__USDHC3_DATA6 0x170b9
				MX6SX_PAD_SD3_DATA7__USDHC3_DATA7 0x170b9
			>;
		};

		pinctrl_usdhc3_1_200mhz: usdhc3grp-1-200mhz {
			fsl,pins = <
				MX6SX_PAD_SD3_CMD__USDHC3_CMD	  0x170f9
				MX6SX_PAD_SD3_CLK__USDHC3_CLK	  0x100f9
				MX6SX_PAD_SD3_DATA0__USDHC3_DATA0 0x170f9
				MX6SX_PAD_SD3_DATA1__USDHC3_DATA1 0x170f9
				MX6SX_PAD_SD3_DATA2__USDHC3_DATA2 0x170f9
				MX6SX_PAD_SD3_DATA3__USDHC3_DATA3 0x170f9
				MX6SX_PAD_SD3_DATA4__USDHC3_DATA4 0x170f9
				MX6SX_PAD_SD3_DATA5__USDHC3_DATA5 0x170f9
				MX6SX_PAD_SD3_DATA6__USDHC3_DATA6 0x170f9
				MX6SX_PAD_SD3_DATA7__USDHC3_DATA7 0x170f9
			>;
		};

	};

	usdhc4 {
			pinctrl_usdhc4_1: usdhc4grp-1 {
				fsl,pins = <
					MX6SX_PAD_SD4_CMD__USDHC4_CMD     0x17059
					MX6SX_PAD_SD4_CLK__USDHC4_CLK     0x10059
					MX6SX_PAD_SD4_DATA0__USDHC4_DATA0 0x17059
					MX6SX_PAD_SD4_DATA1__USDHC4_DATA1 0x17059
					MX6SX_PAD_SD4_DATA2__USDHC4_DATA2 0x17059
					MX6SX_PAD_SD4_DATA3__USDHC4_DATA3 0x17059
					MX6SX_PAD_SD4_DATA4__USDHC4_DATA4 0x17059
					MX6SX_PAD_SD4_DATA5__USDHC4_DATA5 0x17059
					MX6SX_PAD_SD4_DATA6__USDHC4_DATA6 0x17059
					MX6SX_PAD_SD4_DATA7__USDHC4_DATA7 0x17059
				>;
			};

			pinctrl_usdhc4_1_100mhz: usdhc4grp-1-100mhz {
				fsl,pins = <
					MX6SX_PAD_SD4_CMD__USDHC4_CMD     0x170b9
					MX6SX_PAD_SD4_CLK__USDHC4_CLK     0x100b9
					MX6SX_PAD_SD4_DATA0__USDHC4_DATA0 0x170b9
					MX6SX_PAD_SD4_DATA1__USDHC4_DATA1 0x170b9
					MX6SX_PAD_SD4_DATA2__USDHC4_DATA2 0x170b9
					MX6SX_PAD_SD4_DATA3__USDHC4_DATA3 0x170b9
					MX6SX_PAD_SD4_DATA4__USDHC4_DATA4 0x170b9
					MX6SX_PAD_SD4_DATA5__USDHC4_DATA5 0x170b9
					MX6SX_PAD_SD4_DATA6__USDHC4_DATA6 0x170b9
					MX6SX_PAD_SD4_DATA7__USDHC4_DATA7 0x170b9
				>;
			};

			pinctrl_usdhc4_1_200mhz: usdhc4grp-1-200mhz {
				fsl,pins = <
					MX6SX_PAD_SD4_CMD__USDHC4_CMD     0x170f9
					MX6SX_PAD_SD4_CLK__USDHC4_CLK     0x100f9
					MX6SX_PAD_SD4_DATA0__USDHC4_DATA0 0x170f9
					MX6SX_PAD_SD4_DATA1__USDHC4_DATA1 0x170f9
					MX6SX_PAD_SD4_DATA2__USDHC4_DATA2 0x170f9
					MX6SX_PAD_SD4_DATA3__USDHC4_DATA3 0x170f9
					MX6SX_PAD_SD4_DATA4__USDHC4_DATA4 0x170f9
					MX6SX_PAD_SD4_DATA5__USDHC4_DATA5 0x170f9
					MX6SX_PAD_SD4_DATA6__USDHC4_DATA6 0x170f9
					MX6SX_PAD_SD4_DATA7__USDHC4_DATA7 0x170f9
				>;
			};

			pinctrl_usdhc4_2: usdhc4grp-2 {
				fsl,pins = <
					MX6SX_PAD_SD4_CMD__USDHC4_CMD     0x17059
					MX6SX_PAD_SD4_CLK__USDHC4_CLK     0x10059
					MX6SX_PAD_SD4_DATA0__USDHC4_DATA0 0x17059
					MX6SX_PAD_SD4_DATA1__USDHC4_DATA1 0x17059
					MX6SX_PAD_SD4_DATA2__USDHC4_DATA2 0x17059
					MX6SX_PAD_SD4_DATA3__USDHC4_DATA3 0x17059
				>;
			};

			pinctrl_usdhc4_3: usdhc4grp-3 {
				fsl,pins = <
					MX6SX_PAD_SD4_CMD__USDHC4_CMD     0x17071
					MX6SX_PAD_SD4_CLK__USDHC4_CLK     0x10071
					MX6SX_PAD_SD4_DATA0__USDHC4_DATA0 0x17071
					MX6SX_PAD_SD4_DATA1__USDHC4_DATA1 0x17071
					MX6SX_PAD_SD4_DATA2__USDHC4_DATA2 0x17071
					MX6SX_PAD_SD4_DATA3__USDHC4_DATA3 0x17071
					MX6SX_PAD_SD4_DATA4__USDHC4_DATA4 0x17071
					MX6SX_PAD_SD4_DATA5__USDHC4_DATA5 0x17071
					MX6SX_PAD_SD4_DATA6__USDHC4_DATA6 0x17071
					MX6SX_PAD_SD4_DATA7__USDHC4_DATA7 0x17071
				>;
			};

	};

	wdog {
		pinctrl_wdog: wdoggrp {
			fsl,pins = <
				MX6SX_PAD_GPIO1_IO13__WDOG1_WDOG_ANY 0x10b0
			>;
		};
	};

	weim {
		pinctrl_weim_cs0_1: weim_cs0grp-1 {
			fsl,pins = <
				MX6SX_PAD_NAND_ALE__WEIM_CS0_B       0xb0b1
			>;
		};

		pinctrl_weim_nor_1: weim_norgrp-1 {
			fsl,pins = <
				MX6SX_PAD_NAND_CE1_B__WEIM_OE        0xb0b1
				MX6SX_PAD_NAND_RE_B__WEIM_RW         0xb0b1
				MX6SX_PAD_NAND_WE_B__WEIM_WAIT       0xb060
				/* data */
				MX6SX_PAD_QSPI1A_SCLK__WEIM_DATA_0   0x1b0b0
				MX6SX_PAD_QSPI1A_SS0_B__WEIM_DATA_1  0x1b0b0
				MX6SX_PAD_QSPI1A_SS1_B__WEIM_DATA_2  0x1b0b0
				MX6SX_PAD_QSPI1A_DATA3__WEIM_DATA_3  0x1b0b0
				MX6SX_PAD_QSPI1A_DATA2__WEIM_DATA_4  0x1b0b0
				MX6SX_PAD_QSPI1A_DATA1__WEIM_DATA_5  0x1b0b0
				MX6SX_PAD_QSPI1A_DATA0__WEIM_DATA_6  0x1b0b0
				MX6SX_PAD_QSPI1A_DQS__WEIM_DATA_7    0x1b0b0
				MX6SX_PAD_QSPI1B_SCLK__WEIM_DATA_8   0x1b0b0
				MX6SX_PAD_QSPI1B_SS0_B__WEIM_DATA_9  0x1b0b0
				MX6SX_PAD_QSPI1B_SS1_B__WEIM_DATA_10 0x1b0b0
				MX6SX_PAD_QSPI1B_DATA3__WEIM_DATA_11 0x1b0b0
				MX6SX_PAD_QSPI1B_DATA2__WEIM_DATA_12 0x1b0b0
				MX6SX_PAD_QSPI1B_DATA1__WEIM_DATA_13 0x1b0b0
				MX6SX_PAD_QSPI1B_DATA0__WEIM_DATA_14 0x1b0b0
				MX6SX_PAD_QSPI1B_DQS__WEIM_DATA_15   0x1b0b0
				/* address */
				MX6SX_PAD_NAND_DATA00__WEIM_AD_0     0xb0b1
				MX6SX_PAD_NAND_DATA01__WEIM_AD_1     0xb0b1
				MX6SX_PAD_NAND_DATA02__WEIM_AD_2     0xb0b1
				MX6SX_PAD_NAND_DATA03__WEIM_AD_3     0xb0b1
				MX6SX_PAD_NAND_DATA04__WEIM_AD_4     0xb0b1
				MX6SX_PAD_NAND_DATA05__WEIM_AD_5     0xb0b1
				MX6SX_PAD_NAND_DATA06__WEIM_AD_6     0xb0b1
				MX6SX_PAD_NAND_DATA07__WEIM_AD_7     0xb0b1
				MX6SX_PAD_LCD1_DATA08__WEIM_AD_8     0xb0b1
				MX6SX_PAD_LCD1_DATA09__WEIM_AD_9     0xb0b1
				MX6SX_PAD_LCD1_DATA10__WEIM_AD_10    0xb0b1
				MX6SX_PAD_LCD1_DATA11__WEIM_AD_11    0xb0b1
				MX6SX_PAD_LCD1_DATA12__WEIM_AD_12    0xb0b1
				MX6SX_PAD_LCD1_DATA13__WEIM_AD_13    0xb0b1
				MX6SX_PAD_LCD1_DATA14__WEIM_AD_14    0xb0b1
				MX6SX_PAD_LCD1_DATA15__WEIM_AD_15    0xb0b1
				MX6SX_PAD_LCD1_DATA16__WEIM_ADDR_16  0xb0b1
				MX6SX_PAD_LCD1_DATA17__WEIM_ADDR_17  0xb0b1
				MX6SX_PAD_LCD1_DATA18__WEIM_ADDR_18  0xb0b1
				MX6SX_PAD_LCD1_DATA19__WEIM_ADDR_19  0xb0b1
				MX6SX_PAD_LCD1_DATA20__WEIM_ADDR_20  0xb0b1
				MX6SX_PAD_LCD1_DATA21__WEIM_ADDR_21  0xb0b1
				MX6SX_PAD_LCD1_DATA22__WEIM_ADDR_22  0xb0b1
				MX6SX_PAD_LCD1_DATA03__WEIM_ADDR_24  0xb0b1
				MX6SX_PAD_LCD1_DATA04__WEIM_ADDR_25  0xb0b1
				MX6SX_PAD_LCD1_DATA05__WEIM_ADDR_26  0xb0b1
			>;
		};
	};
};
